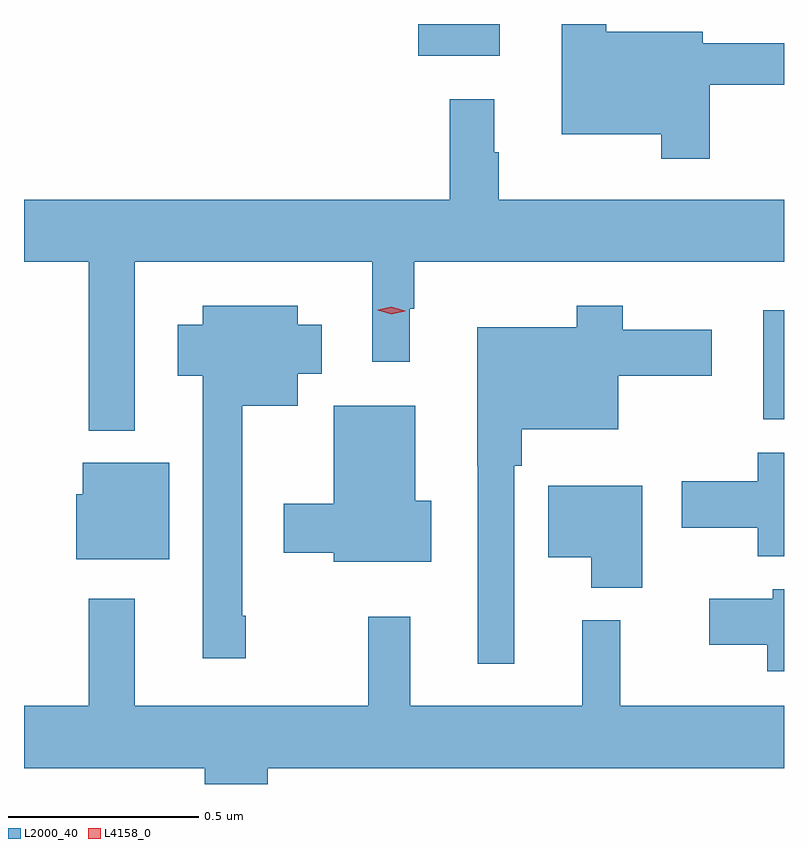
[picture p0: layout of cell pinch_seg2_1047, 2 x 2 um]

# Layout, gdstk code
import gdstk
lib = gdstk.Library(unit=1e-6, precision=1e-09)
def R(c, l, rs):  # rectangles x0, y0, x1, y1
    for r in rs: c.add(gdstk.rectangle(r[:2], r[2:], *l))
def P(c, l, *ps):  # polygons
    for p in ps: c.add(gdstk.Polygon(p, *l))
L2000_40 = (2000, 40)
L4158_0 = (4158, 0)

pinch_seg2_1047 = lib.new_cell('pinch_seg2_1047')
R(pinch_seg2_1047, L2000_40, [(335.207,601.934,335.261,602.221), (334.298,602.891,334.513,602.974)])
P(pinch_seg2_1047, L2000_40, [(335.066,602.814),(335.261,602.814),(335.261,602.923),(335.047,602.923),(335.047,602.953),(334.793,602.953),(334.793,602.974),(334.676,602.974),(334.676,602.684),(334.938,602.684),(334.938,602.619),(335.066,602.619)],
  [(333.553,602.348),(334.178,602.348),(334.178,602.085),(334.276,602.085),(334.276,602.225),(334.288,602.225),(334.288,602.348),(335.261,602.348),(335.261,602.512),(334.51,602.512),(334.51,602.636),(334.498,602.636),(334.498,602.776),(334.381,602.776),(334.381,602.512),(333.261,602.512),(333.261,602.348),(333.432,602.348),(333.432,601.904),(333.553,601.904)],
  [(334.551,601.811),(334.571,601.811),(334.571,601.907),(334.825,601.907),(334.825,602.048),(335.071,602.048),(335.071,602.17),(334.837,602.17),(334.837,602.233),(334.716,602.233),(334.716,602.176),(334.454,602.176),(334.454,601.811),(334.455,601.811),(334.455,601.29),(334.551,601.29)],
  [(333.845,601.417),(333.835,601.417),(333.835,601.97),(333.982,601.97),(333.982,602.053),(334.045,602.053),(334.045,602.182),(333.982,602.182),(333.982,602.233),(333.731,602.233),(333.731,602.182),(333.665,602.182),(333.665,602.048),(333.731,602.048),(333.731,601.305),(333.845,601.305)],
  [(334.333,601.719),(334.291,601.719),(334.291,601.969),(334.076,601.969),(334.076,601.711),(333.945,601.711),(333.945,601.582),(334.076,601.582),(334.076,601.559),(334.333,601.559)],
  [(335.261,601.846),(335.192,601.846),(335.192,601.771),(334.992,601.771),(334.992,601.649),(335.192,601.649),(335.192,601.574),(335.261,601.574)],
  [(333.643,601.819),(333.416,601.819),(333.416,601.737),(333.398,601.737),(333.398,601.565),(333.643,601.565)],
  [(334.888,601.759),(334.64,601.759),(334.64,601.571),(334.754,601.571),(334.754,601.49),(334.888,601.49)],
  [(335.261,601.486),(335.232,601.486),(335.232,601.462),(335.064,601.462),(335.064,601.34),(335.217,601.34),(335.217,601.271),(335.261,601.271)],
  [(333.902,601.016),(335.261,601.016),(335.261,601.18),(334.83,601.18),(334.83,601.405),(334.73,601.405),(334.73,601.18),(334.277,601.18),(334.277,601.414),(334.167,601.414),(334.167,601.18),(333.553,601.18),(333.553,601.462),(333.432,601.462),(333.432,601.18),(333.261,601.18),(333.261,601.016),(333.737,601.016),(333.737,600.974),(333.902,600.974)])
P(pinch_seg2_1047, L4158_0, [(334.227,602.21),(334.192,602.221),(334.192,602.221),(334.192,602.222),(334.228,602.23),(334.264,602.219),(334.264,602.219),(334.264,602.218)])

lib.write_gds('pinch_seg2_1047.gds')
